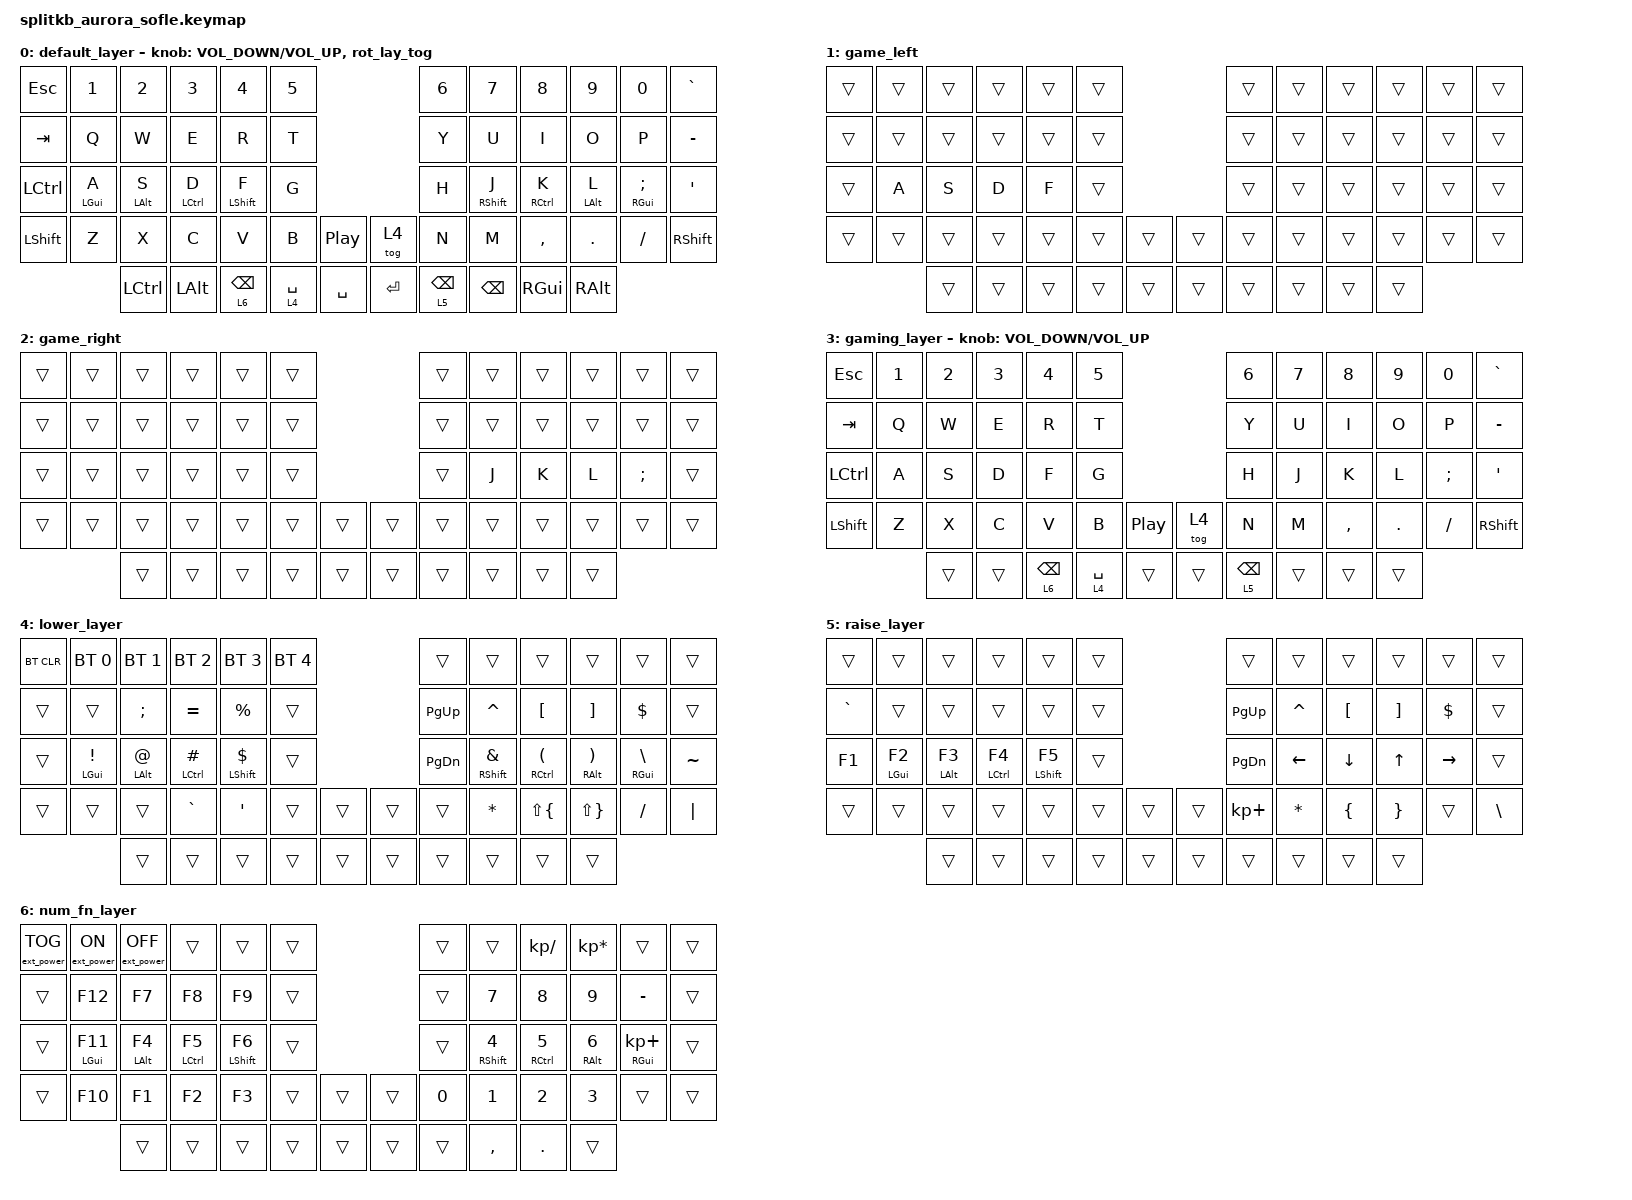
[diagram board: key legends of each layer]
/*
 * Copyright (c) 2023 The ZMK Contributors
 *
 * SPDX-License-Identifier: MIT
 */

#include <behaviors.dtsi>
#include <dt-bindings/zmk/bt.h>
#include <dt-bindings/zmk/ext_power.h>
#include <dt-bindings/zmk/keys.h>

/* Uncomment this block if using RGB
&led_strip {
    chain-length = <6>;
    // chain-length = <35>; // Uncomment if using both per-key and underglow LEDs
    // chain-length = <29>; // Uncomment if using only per-key LEDs.
};
 */

&mt {
    flavor = "tap-preferred";
    require-prior-idle-ms = <145>;
    tapping-term-ms = <230>;
};

&left_encoder {
    resolution = <4>;
    steps = <72>;
};

&right_encoder {
    resolution = <4>;
    steps = <72>;
};

/ {
    behaviors {
        shift_mod_tap: shift_mod_tap {
            compatible = "zmk,behavior-hold-tap";
            label = "SHIFT_MOD_TAP";
            bindings = <&kp>, <&kp>;

            #binding-cells = <2>;
            tapping-term-ms = <190>;
            flavor = "tap-preferred";
            require-prior-idle-ms = <35>;
        };

        caps_dash_word: caps_dash_word {
            compatible = "zmk,behavior-caps-word";
            label = "CAPS_DASH_WORD";
            #binding-cells = <0>;
            continue-list = <Q W F P G J L U Y A R S T N E I Z X C V B K M UNDERSCORE MINUS O H D BACKSPACE SEMICOLON COLON SEMI>;
            mods = <(MOD_LSFT)>;
        };

        caps_word_2: caps_word_2 {
            compatible = "zmk,behavior-caps-word";
            label = "CAPS_WORD_2";
            #binding-cells = <0>;
            mods = <(MOD_LSFT)>;
            continue-list = <SEMICOLON SEMI COLON O>;
        };

        rot_lay_tog: rot_lay_tog {
            compatible = "zmk,behavior-sensor-rotate";
            label = "ROT_LAY_TOG";
            #sensor-binding-cells = <0>;
            bindings = <&tog 2>, <&tog 1>;
        };
    };

    combos {
        compatible = "zmk,combos";

        minus_combo {
            bindings = <&kp MINUS>;
            key-positions = <16 19>;
        };

        esc_combo {
            bindings = <&kp ESCAPE>;
            key-positions = <25 34>;
        };

        underscore_combo {
            bindings = <&kp UNDER>;
            key-positions = <40 45>;
        };

        caps_dash_word {
            bindings = <&caps_word_2>;
            key-positions = <15 20>;
        };

        sticky-altgr {
            bindings = <&sk RIGHT_ALT>;
            key-positions = <26 33>;
        };
    };

    keymap {
        compatible = "zmk,keymap";

        default_layer {
            // ------------------------------------------------------------------------------------------------------------
            // |  ESC  |  1  |  2  |  3   |  4   |  5   |                   |  6   |  7    |  8    |  9   |   0   |   `   |
            // |  TAB  |  Q  |  W  |  E   |  R   |  T   |                   |  Y   |  U    |  I    |  O   |   P   |   -   |
            // |  CTRL |  A  |  S  |  D   |  F   |  G   |                   |  H   |  J    |  K    |  L   |   ;   |   '   |
            // | SHIFT |  Z  |  X  |  C   |  V   |  B   |   "["  |  |  "]"  |  N   |  M    |  ,    |  .   |   /   | SHIFT |
            //               |CTRL | ALT  | GUI  | LOWER|  SPACE |  | ENTER | RAISE| BSPC  | GUI   | RALT |

            bindings = <
&kp ESC    &kp N1          &kp N2          &kp N3       &kp N4                  &kp N5                                    &kp N6           &kp N7                  &kp N8       &kp N9          &kp N0                   &kp GRAVE
&kp TAB    &kp Q           &kp W           &kp E        &kp R                   &kp T                                     &kp Y            &kp U                   &kp I        &kp O           &kp P                    &kp MINUS
&kp LCTRL  &mt LEFT_GUI A  &mt LEFT_ALT S  &mt LCTRL D  &shift_mod_tap LSHFT F  &kp G                                     &kp H            &shift_mod_tap RSHFT J  &mt RCTRL K  &mt LEFT_ALT L  &mt RIGHT_GUI SEMICOLON  &kp SQT
&kp LSHFT  &kp Z           &kp X           &kp C        &kp V                   &kp B        &kp C_PLAY_PAUSE    &tog 4   &kp N            &kp M                   &kp COMMA    &kp DOT         &kp FSLH                 &kp RSHFT
                           &kp LCTRL       &kp LALT     &lt 6 BACKSPACE         &lt 4 SPACE  &kp SPACE           &kp RET  &lt 5 BACKSPACE  &kp BSPC                &kp RGUI     &kp RALT
            >;

            sensor-bindings =
                <&inc_dec_kp C_VOLUME_DOWN C_VOLUME_UP>,
                <&rot_lay_tog>;
        };

        game_left {
            bindings = <
&trans  &trans  &trans  &trans  &trans  &trans                    &trans  &trans  &trans  &trans  &trans  &trans
&trans  &trans  &trans  &trans  &trans  &trans                    &trans  &trans  &trans  &trans  &trans  &trans
&trans  &kp A   &kp S   &kp D   &kp F   &trans                    &trans  &trans  &trans  &trans  &trans  &trans
&trans  &trans  &trans  &trans  &trans  &trans  &trans    &trans  &trans  &trans  &trans  &trans  &trans  &trans
                &trans  &trans  &trans  &trans  &trans    &trans  &trans  &trans  &trans  &trans
            >;

            label = "game_left";
        };

        game_right {
            bindings = <
&trans  &trans  &trans  &trans  &trans  &trans                    &trans  &trans  &trans  &trans  &trans         &trans
&trans  &trans  &trans  &trans  &trans  &trans                    &trans  &trans  &trans  &trans  &trans         &trans
&trans  &trans  &trans  &trans  &trans  &trans                    &trans  &kp J   &kp K   &kp L   &kp SEMICOLON  &trans
&trans  &trans  &trans  &trans  &trans  &trans  &trans    &trans  &trans  &trans  &trans  &trans  &trans         &trans
                &trans  &trans  &trans  &trans  &trans    &trans  &trans  &trans  &trans  &trans
            >;

            label = "game_right";
        };

        gaming_layer {
            // ------------------------------------------------------------------------------------------------------------
            // |  ESC  |  1  |  2  |  3   |  4   |  5   |                   |  6   |  7    |  8    |  9   |   0   |   `   |
            // |  TAB  |  Q  |  W  |  E   |  R   |  T   |                   |  Y   |  U    |  I    |  O   |   P   |   -   |
            // |  CTRL |  A  |  S  |  D   |  F   |  G   |                   |  H   |  J    |  K    |  L   |   ;   |   '   |
            // | SHIFT |  Z  |  X  |  C   |  V   |  B   |   "["  |  |  "]"  |  N   |  M    |  ,    |  .   |   /   | SHIFT |
            //               |CTRL | ALT  | GUI  | LOWER|  SPACE |  | ENTER | RAISE| BSPC  | GUI   | RALT |

            bindings = <
&kp ESC    &kp N1  &kp N2  &kp N3  &kp N4           &kp N5                                   &kp N6           &kp N7  &kp N8     &kp N9   &kp N0         &kp GRAVE
&kp TAB    &kp Q   &kp W   &kp E   &kp R            &kp T                                    &kp Y            &kp U   &kp I      &kp O    &kp P          &kp MINUS
&kp LCTRL  &kp A   &kp S   &kp D   &kp F            &kp G                                    &kp H            &kp J   &kp K      &kp L    &kp SEMICOLON  &kp SQT
&kp LSHFT  &kp Z   &kp X   &kp C   &kp V            &kp B        &kp C_PLAY_PAUSE    &tog 4  &kp N            &kp M   &kp COMMA  &kp DOT  &kp FSLH       &kp RSHFT
                   &trans  &trans  &lt 6 BACKSPACE  &lt 4 SPACE  &trans              &trans  &lt 5 BACKSPACE  &trans  &trans     &trans
            >;

            sensor-bindings = <&inc_dec_kp C_VOLUME_DOWN C_VOLUME_UP>;
        };

        lower_layer {
            // ------------------------------------------------------------------------------------------------------------
            // | BTCLR | BT1 | BT2 |  BT3 |  BT4 |  BT5 |                   |      |       |       |      |       |       |
            // |  F1   |  F2 |  F3 |  F4  |  F5  |  F6  |                   |  F7  |  F8   |  F9   |  F10 |  F11  |  F12  |
            // |   `   |  !  |  @  |  #   |  $   |  %   |                   |  ^   |  &    |  *    |  (   |   )   |   ~   |
            // |       |     |     |      |      |      |        |  |       |      |  _    |  +    |  {   |   }   |  "|"  |
            //               |     |      |      |      |        |  |       |      |       |       |      |

            bindings = <
&bt BT_CLR  &bt BT_SEL 0              &bt BT_SEL 1          &bt BT_SEL 2    &bt BT_SEL 3                      &bt BT_SEL 4                    &trans         &trans                          &trans                      &trans                           &trans                   &trans
&trans      &trans                    &kp SEMICOLON         &kp EQUAL       &kp PERCENT                       &trans                          &kp PAGE_UP    &kp CARET                       &kp LBKT                    &kp RBKT                         &kp DOLLAR               &trans
&trans      &mt LEFT_GUI EXCLAMATION  &mt LEFT_ALT AT_SIGN  &mt LCTRL HASH  &shift_mod_tap LEFT_SHIFT DOLLAR  &trans                          &kp PAGE_DOWN  &shift_mod_tap RSHFT AMPERSAND  &mt RCTRL LEFT_PARENTHESIS  &mt RIGHT_ALT RIGHT_PARENTHESIS  &mt RIGHT_GUI BACKSLASH  &kp TILDE
&trans      &trans                    &trans                &kp GRAVE       &kp SINGLE_QUOTE                  &trans        &trans    &trans  &trans         &kp ASTRK                       &kp LS(LBRC)                &kp LS(RBRC)                     &kp FSLH                 &kp PIPE
                                      &trans                &trans          &trans                            &trans        &trans    &trans  &trans         &trans                          &trans                      &trans
            >;
        };

        raise_layer {
            // ------------------------------------------------------------------------------------------------------------
            // |       |     |     |      |      |      |                   |      |       |       |      |       |       |
            // |   `   |  1  |  2  |  3   |  4   |  5   |                   |  6   |   7   |   8   |  9   |   0   |       |
            // |   F1  |  F2 |  F3 |  F4  |  F5  |  F6  |                   |      |   <-  |   v   |  ^   |  ->   |       |
            // |   F7  |  F8 |  F9 |  F10 |  F11 |  F12 |        |  |       |  +   |   -   |   =   |  [   |   ]   |   \   |
            //               |     |      |      |      |        |  |       |      |       |       |      |

            bindings = <
&trans     &trans           &trans           &trans        &trans                    &trans                    &trans         &trans     &trans            &trans           &trans      &trans
&kp GRAVE  &trans           &trans           &trans        &trans                    &trans                    &kp PAGE_UP    &kp CARET  &kp LEFT_BRACKET  &kp RBKT         &kp DOLLAR  &trans
&kp F1     &mt LEFT_GUI F2  &mt LEFT_ALT F3  &mt LCTRL F4  &shift_mod_tap LSHIFT F5  &trans                    &kp PAGE_DOWN  &kp LEFT   &kp DOWN          &kp UP           &kp RIGHT   &trans
&trans     &trans           &trans           &trans        &trans                    &trans  &trans    &trans  &kp KP_PLUS    &kp ASTRK  &kp LEFT_BRACE    &kp RIGHT_BRACE  &trans      &kp BSLH
                            &trans           &trans        &trans                    &trans  &trans    &trans  &trans         &trans     &trans            &trans
            >;
        };

        num_fn_layer {
            bindings = <
&ext_power EP_TOG  &ext_power EP_ON  &ext_power EP_OFF  &trans        &trans                    &trans                    &trans  &trans                          &kp KP_DIVIDE  &kp KP_ASTERISK         &trans                 &trans
&trans             &kp F12           &kp F7             &kp F8        &kp F9                    &trans                    &trans  &kp N7                          &kp N8         &kp N9                  &kp MINUS              &trans
&trans             &mt LEFT_GUI F11  &mt LEFT_ALT F4    &mt LCTRL F5  &shift_mod_tap LSHIFT F6  &trans                    &trans  &shift_mod_tap RSHIFT NUMBER_4  &mt RCTRL N5   &mt RIGHT_ALT NUMBER_6  &mt RIGHT_GUI KP_PLUS  &trans
&trans             &kp F10           &kp F1             &kp F2        &kp F3                    &trans  &trans    &trans  &kp N0  &kp N1                          &kp N2         &kp N3                  &trans                 &trans
                                     &trans             &trans        &trans                    &trans  &trans    &trans  &trans  &kp COMMA                       &kp DOT        &trans
            >;
        };
    };
};
